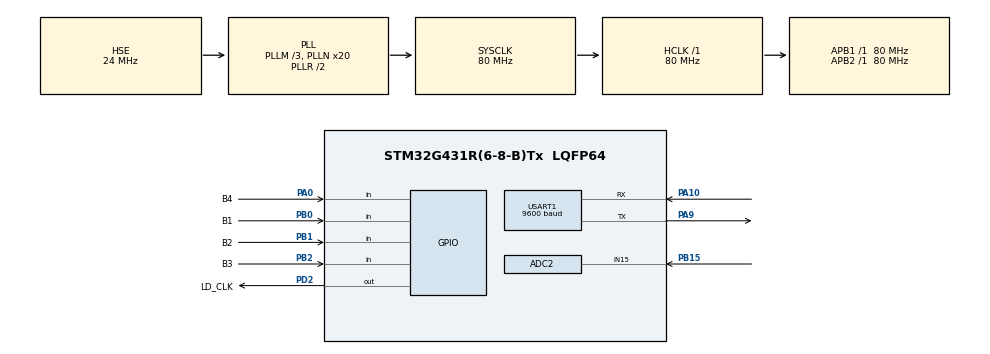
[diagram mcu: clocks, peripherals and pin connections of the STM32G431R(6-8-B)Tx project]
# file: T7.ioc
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ADC2.Channel-0\#ChannelRegularConversion=ADC_CHANNEL_15
ADC2.NbrOfConversionFlag=1
ADC2.OffsetNumber-0\#ChannelRegularConversion=ADC_OFFSET_NONE
ADC2.Rank-0\#ChannelRegularConversion=1
ADC2.SamplingTime-0\#ChannelRegularConversion=ADC_SAMPLETIME_2CYCLES_5
Mcu.Family=STM32G4
Mcu.Name=STM32G431R(6-8-B)Tx
Mcu.Package=LQFP64
NVIC.ADC1_2_IRQn=true\:0\:0\:false\:false\:true\:true\:true
NVIC.PriorityGroup=NVIC_PRIORITYGROUP_4
NVIC.TIM4_IRQn=true\:0\:0\:false\:false\:true\:true\:true
NVIC.USART1_IRQn=true\:0\:0\:false\:false\:true\:true\:true
PA0.GPIO_Label=B4
PA0.Signal=GPIO_Input
PA10.Mode=Asynchronous
PA10.Signal=USART1_RX
PA9.Mode=Asynchronous
PA9.Signal=USART1_TX
PB0.GPIO_Label=B1
PB0.Signal=GPIO_Input
PB1.GPIO_Label=B2
PB1.Signal=GPIO_Input
PB15.Mode=IN15-Single-Ended
PB15.Signal=ADC2_IN15
PB2.GPIO_Label=B3
PB2.Signal=GPIO_Input
PD2.GPIO_Label=LD_CLK
PD2.Signal=GPIO_Output
PF0-OSC_IN.Mode=HSE-External-Oscillator
PF0-OSC_IN.Signal=RCC_OSC_IN
PF1-OSC_OUT.Mode=HSE-External-Oscillator
PF1-OSC_OUT.Signal=RCC_OSC_OUT
ProjectManager.HeapSize=0x200
ProjectManager.StackSize=0x400
ProjectManager.TargetToolchain=MDK-ARM V5.27
RCC.ADC12Freq_Value=80000000
RCC.AHBFreq_Value=80000000
RCC.APB1Freq_Value=80000000
RCC.APB1TimFreq_Value=80000000
RCC.APB2Freq_Value=80000000
RCC.APB2TimFreq_Value=80000000
RCC.CortexFreq_Value=80000000
RCC.EXTERNAL_CLOCK_VALUE=12288000
RCC.HCLKFreq_Value=80000000
RCC.HSE_VALUE=24000000
RCC.HSI48_VALUE=48000000
RCC.HSI_VALUE=16000000
RCC.LSE_VALUE=32768
RCC.PLLM=RCC_PLLM_DIV3
RCC.PLLN=20
RCC.PLLSourceVirtual=RCC_PLLSOURCE_HSE
RCC.SYSCLKFreq_VALUE=80000000
RCC.SYSCLKSource=RCC_SYSCLKSOURCE_PLLCLK
RCC.USBFreq_Value=80000000
RCC.VCOOutputFreq_Value=160000000
TIM4.PeriodNoDither=1000-1
TIM4.Prescaler=80-1
USART1.BaudRate=9600
USART1.VirtualMode-Asynchronous=VM_ASYNC
VP_SYS_VS_DBSignals.Mode=DisableDeadBatterySignals
VP_TIM4_VS_ClockSourceINT.Mode=Internal
board=custom

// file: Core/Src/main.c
/* USER CODE BEGIN Header */
/**
  ******************************************************************************
  * @file           : main.c
  * @brief          : Main program body
  ******************************************************************************
  * @attention
  *
  * <h2><center>&copy; Copyright (c) 2021 STMicroelectronics.
  * All rights reserved.</center></h2>
  *
  * This software component is licensed by ST under BSD 3-Clause license,
  * the "License"; You may not use this file except in compliance with the
  * License. You may obtain a copy of the License at:
  *                        opensource.org/licenses/BSD-3-Clause
  *
  ******************************************************************************
  */
/* USER CODE END Header */
#include "main.h"
#include "adc.h"
#include "tim.h"
#include "usart.h"
#include "gpio.h"

/* USER CODE BEGIN Includes */
#include "lcd.h"
#include "i2c.h"
#include "stdio.h"
#include "string.h"
/* USER CODE END Includes */

/* USER CODE BEGIN PD */
#define DISPLAYVIEW 0
#define SETTINGVIEW 1
#define Th1_SEL 1
#define Th2_SEL 2
#define Th3_SEL 3
/* USER CODE END PD */

/* USER CODE BEGIN PM */
#define KB1 HAL_GPIO_ReadPin(B1_GPIO_Port, B1_Pin)
#define KB2 HAL_GPIO_ReadPin(B2_GPIO_Port, B2_Pin)
#define KB3 HAL_GPIO_ReadPin(B3_GPIO_Port, B3_Pin)
#define KB4 HAL_GPIO_ReadPin(B4_GPIO_Port, B4_Pin)

/* USER CODE END PM */

/* USER CODE BEGIN PV */
_Bool Adc_Flag = 1;//ADC的标志位
_Bool Key_Flag = 0;//KEY的标志位
_Bool Led_Flag = 0;//LED的标志位
_Bool Led2_Flag, Led2_200ms_flag = 0;
_Bool Led3_Flag, Led3_200ms_flag = 0;

uint16_t Led_Val;
uint8_t View_Model = 0;
uint8_t Height_Val;//液位高度
float Adc_Val;//ADC的值
uint8_t Level_Val = 1;//液位等级
uint8_t Pre_Level_Val = 1;//液位等级

uint8_t Th_Index = 1;
uint8_t Th1, Th2, Th3;

uint8_t rx_buf[30];
/* USER CODE END PV */

void SystemClock_Config(void);

/* USER CODE BEGIN 0 */
uint8_t ee_read(uint8_t address)
{
 uint8_t val;
 I2CStart();
 I2CSendByte(0xa0);
 I2CWaitAck();

 I2CSendByte(address);
 I2CWaitAck();

 I2CStart();
 I2CSendByte(0xa1);
 I2CWaitAck();
 val = I2CReceiveByte();
 I2CWaitAck();
 I2CStop();
 return val;
}

//
void ee_write(uint8_t address, uint8_t val)
{
 I2CStart();
 I2CSendByte(0xa0);
 I2CWaitAck();

 I2CSendByte(address);
 I2CWaitAck();

 I2CSendByte(val);
 I2CWaitAck();
 I2CStop();
}

int fputc(int ch, FILE *f)
{
	HAL_UART_Transmit(&huart1, (uint8_t *)&ch, 1, HAL_MAX_DELAY);
	return ch;
}
//控制LED
void TurnOff_LEDS(void)
{
	Led_Val = 0xFF00;
	HAL_GPIO_WritePin(LD_CLK_GPIO_Port, LD_CLK_Pin, GPIO_PIN_SET);
	GPIOC->ODR = Led_Val;
	HAL_GPIO_WritePin(LD_CLK_GPIO_Port, LD_CLK_Pin, GPIO_PIN_RESET);
}
void TurnOn_LED(uint8_t i)
{
	Led_Val &= ~(0x01<<(7+i));
	HAL_GPIO_WritePin(LD_CLK_GPIO_Port, LD_CLK_Pin, GPIO_PIN_SET);
	GPIOC->ODR = Led_Val;
	HAL_GPIO_WritePin(LD_CLK_GPIO_Port, LD_CLK_Pin, GPIO_PIN_RESET);
}
void TurnOff_LED(uint8_t i)
{
	Led_Val |= (0x01<<(7+i));
	HAL_GPIO_WritePin(LD_CLK_GPIO_Port, LD_CLK_Pin, GPIO_PIN_SET);
	GPIOC->ODR = Led_Val;
	HAL_GPIO_WritePin(LD_CLK_GPIO_Port, LD_CLK_Pin, GPIO_PIN_RESET);
}

_Bool ledodd;
void LD1_Blink()
{
	if(ledodd)
	{
		TurnOn_LED(1);
	}else{
		TurnOff_LED(1);
	}
	ledodd = !ledodd;
}

_Bool ledodd2;
uint8_t led2_count;
void LD2_Blink()
{
	if(ledodd2)
	{
		TurnOn_LED(2);
	}else{
		TurnOff_LED(2);
	}
	ledodd2 = !ledodd2;
}

_Bool ledodd3;
uint8_t led3_count;
void LD3_Blink()
{
	if(ledodd3)
	{
		TurnOn_LED(3);
	}else{
		TurnOff_LED(3);
	}
	ledodd3 = !ledodd3;
}

//获取ADC
uint32_t getADC()
{
	HAL_ADC_Start(&hadc2);
	HAL_ADC_PollForConversion(&hadc2,100);
  if(HAL_IS_BIT_SET(HAL_ADC_GetState(&hadc2),HAL_ADC_STATE_REG_EOC))
	{
		return HAL_ADC_GetValue(&hadc2);
  }
	return 0;
}
void Display()
{
	LCD_DisplayStringLine(Line1, (uint8_t *)"     Liquid Level     ");
	uint8_t buf[30];
	sprintf((char *)buf, "Height:       %-2dcm", Height_Val);
	LCD_DisplayStringLine(Line3, buf);

	sprintf((char *)buf, "ADC:          %.2fV", Adc_Val);
	LCD_DisplayStringLine(Line4, buf);

	sprintf((char *)buf, "Level:        %d", Level_Val);
	LCD_DisplayStringLine(Line5, buf);
}
void Setting()
{
	LCD_DisplayStringLine(Line1, (uint8_t *)"   Parameter Setup    ");
	uint8_t buf2[30];

	sprintf((char *)buf2, " Threshold 1: %-2dcm", Th1);
	if(Th_Index == Th1_SEL)
	{
		LCD_SetTextColor(Green);
		LCD_DisplayStringLine(Line3, buf2);
		LCD_SetTextColor(Black);
	}else{
		LCD_DisplayStringLine(Line3, buf2);
	}

	sprintf((char *)buf2, " Threshold 2: %-2dcm", Th2);
	if(Th_Index == Th2_SEL)
	{
		LCD_SetTextColor(Green);
		LCD_DisplayStringLine(Line4, buf2);
		LCD_SetTextColor(Black);
	}else{
		LCD_DisplayStringLine(Line4, buf2);
	}

	sprintf((char *)buf2, " Threshold 3: %-2dcm", Th3);
	if(Th_Index == Th3_SEL)
	{
		LCD_SetTextColor(Green);
		LCD_DisplayStringLine(Line5, buf2);
		LCD_SetTextColor(Black);
	}else{
		LCD_DisplayStringLine(Line5, buf2);
	}

}
void Display_Proc()
{
	switch(View_Model)
	{
		case DISPLAYVIEW:
			Display();
			break;
		case SETTINGVIEW:
			Setting();
			break;
	}
}

void Key_Proc()
{
	//按键1 切换显示界面
	static uint8_t b1_sum;
	if(KB1 == 0)
	{
		b1_sum++;
		if(b1_sum == 1)
		{
			switch(View_Model)
			{
				case DISPLAYVIEW:
					LCD_Clear(White);
					View_Model = SETTINGVIEW;
					break;
				case SETTINGVIEW:
					ee_write(0x01, Th1);
					HAL_Delay(5);
					ee_write(0x02, Th2);
					HAL_Delay(5);
					ee_write(0x03, Th3);
					HAL_Delay(5);
					LCD_Clear(White);
					View_Model = DISPLAYVIEW;
					break;
			}
		}
	}else if(KB1 == 1)
	{
		b1_sum = 0;
	}

	//按键2 切换显示界面
	static uint8_t b2_sum;
	if(KB2 == 0)
	{
		b2_sum++;
		if(b2_sum == 1)
		{
			if(View_Model == SETTINGVIEW)
				Th_Index = Th_Index % 3 + 1;
		}
	}else if(KB2 == 1)
	{
		b2_sum = 0;
	}

	//按键3 阈值加
	static uint8_t b3_sum;
	if(KB3 == 0)
	{
		b3_sum++;
		if(b3_sum == 1)
		{
			if(View_Model == SETTINGVIEW)
			{
				switch(Th_Index)
				{
					case Th1_SEL:
						if(Th1 + 5 < Th2)
						{
							Th1+=5;
						}
						break;
					case Th2_SEL:
						if(Th2 + 5 < Th3)
						{
							Th2+=5;
						}
						break;
					case Th3_SEL:
						if(Th3 + 5 <= 95)
						{
							Th3+=5;
						}
						break;
				}
			}
		}
	}else if(KB3 == 1)
	{
		b3_sum = 0;
	}

	//按键4 阈值减
	static uint8_t b4_sum;
	if(KB4 == 0)
	{
		b4_sum++;
		if(b4_sum == 1)
		{
			if(View_Model == SETTINGVIEW)
			{
				switch(Th_Index)
				{
					case Th1_SEL:
						if(Th1 - 5 >= 5)
						{
							Th1-=5;
						}
						break;
					case Th2_SEL:
						if(Th2 - 5 > Th1)
						{
							Th2-=5;
						}
						break;
					case Th3_SEL:
						if(Th3 - 5 > Th2)
						{
							Th3-=5;
						}
						break;
				}
			}
		}
	}else if(KB4 == 1)
	{
		b4_sum = 0;
	}
}

//读取eeprom 初始化数据
void Init_Data()
{
	if(ee_read(0x10) == 'T' && ee_read(0x11) == '7')
	{
		Th1 = ee_read(0x01);
		Th2 = ee_read(0x02);
		Th3 = ee_read(0x03);
	}else{
		ee_write(0x10, 'T');
		HAL_Delay(10);
		ee_write(0x11, '7');
		HAL_Delay(10);
		ee_write(0x01, 30);
		HAL_Delay(10);
		ee_write(0x02, 50);
		HAL_Delay(10);
		ee_write(0x03, 70);
		HAL_Delay(10);
	}

}
/* USER CODE END 0 */

int main(void)
{

  /* MCU Configuration--------------------------------------------------------*/

  /* Reset of all peripherals, Initializes the Flash interface and the Systick. */
  HAL_Init();

  /* Configure the system clock */
  SystemClock_Config();

  /* Initialize all configured peripherals */
  MX_GPIO_Init();
  MX_TIM4_Init();
  MX_ADC2_Init();
  MX_USART1_UART_Init();
  /* USER CODE BEGIN 2 */
	HAL_TIM_Base_Start_IT(&htim4);
	HAL_UART_Receive_IT(&huart1, (uint8_t *)rx_buf, 1);
	HAL_ADCEx_Calibration_Start(&hadc2, ADC_SINGLE_ENDED);
	//初始化I2C读取数据
	I2CInit();
	Init_Data();
	//初始化LCD
	LCD_Init();
	LCD_Clear(White);
	LCD_SetBackColor(White);
	LCD_SetTextColor(Black);
	//关闭LED
	TurnOff_LEDS();
  /* USER CODE END 2 */

  /* Infinite loop */
  /* USER CODE BEGIN WHILE */
  while (1)
  {
		Display_Proc();
    /* USER CODE END WHILE */

    /* USER CODE BEGIN 3 */
		if(Key_Flag)
		{
			Key_Flag = 0;
			Key_Proc();
		}
		if(Led_Flag)
		{
			Led_Flag = 0;
			LD1_Blink();
		}

		if(Adc_Flag)
		{
			Adc_Flag = 0;
			Adc_Val = getADC() / 4096.0f * 3.3f;
			Height_Val = Adc_Val * (100.0f / 3.3f);

			if(Height_Val <= Th1)
			{
				Level_Val = 0;
			}
			else if(Height_Val > Th1 && Height_Val <= Th2)
			{
				Level_Val = 1;
			}
			else if(Height_Val > Th2 && Height_Val <= Th3)
			{
				Level_Val = 2;
			}
			else if(Height_Val > Th3)
			{
				Level_Val = 3;
			}

			if(Level_Val != Pre_Level_Val)
			{
				if(Level_Val < Pre_Level_Val)
				{
					printf("A:H%02d+L%d+D\r\n", Height_Val, Level_Val);
				}else if(Level_Val > Pre_Level_Val){
					printf("A:H%02d+L%d+U\r\n", Height_Val, Level_Val);
				}
				Led2_Flag = 1;
			}
			Pre_Level_Val = Level_Val;
		}

		if(Led2_Flag)
		{
			if(Led2_200ms_flag)
			{
				Led2_200ms_flag = 0;
				led2_count++;
				if(led2_count <= 11)
				{
					LD2_Blink();
				}else
				{
					ledodd2 = 0;
					led2_count = 0;
					Led2_Flag = 0;
				}
			}
		}
		if(Led3_Flag)
		{
			if(Led3_200ms_flag)
			{
				Led3_200ms_flag = 0;
				led3_count++;
				if(led3_count <= 11)
				{
					LD3_Blink();
				}else
				{
					ledodd3 = 0;
					led3_count = 0;
					Led3_Flag = 0;
				}
			}
		}

  }
  /* USER CODE END 3 */
}

void SystemClock_Config(void)
{
  RCC_OscInitTypeDef RCC_OscInitStruct = {0};
  RCC_ClkInitTypeDef RCC_ClkInitStruct = {0};
  RCC_PeriphCLKInitTypeDef PeriphClkInit = {0};

  /** Configure the main internal regulator output voltage
  */
  HAL_PWREx_ControlVoltageScaling(PWR_REGULATOR_VOLTAGE_SCALE1);
  /** Initializes the RCC Oscillators according to the specified parameters
  * in the RCC_OscInitTypeDef structure.
  */
  RCC_OscInitStruct.OscillatorType = RCC_OSCILLATORTYPE_HSE;
  RCC_OscInitStruct.HSEState = RCC_HSE_ON;
  RCC_OscInitStruct.PLL.PLLState = RCC_PLL_ON;
  RCC_OscInitStruct.PLL.PLLSource = RCC_PLLSOURCE_HSE;
  RCC_OscInitStruct.PLL.PLLM = RCC_PLLM_DIV3;
  RCC_OscInitStruct.PLL.PLLN = 20;
  RCC_OscInitStruct.PLL.PLLP = RCC_PLLP_DIV2;
  RCC_OscInitStruct.PLL.PLLQ = RCC_PLLQ_DIV2;
  RCC_OscInitStruct.PLL.PLLR = RCC_PLLR_DIV2;
  if (HAL_RCC_OscConfig(&RCC_OscInitStruct) != HAL_OK)
  {
    Error_Handler();
  }
  /** Initializes the CPU, AHB and APB buses clocks
  */
  RCC_ClkInitStruct.ClockType = RCC_CLOCKTYPE_HCLK|RCC_CLOCKTYPE_SYSCLK
                              |RCC_CLOCKTYPE_PCLK1|RCC_CLOCKTYPE_PCLK2;
  RCC_ClkInitStruct.SYSCLKSource = RCC_SYSCLKSOURCE_PLLCLK;
  RCC_ClkInitStruct.AHBCLKDivider = RCC_SYSCLK_DIV1;
  RCC_ClkInitStruct.APB1CLKDivider = RCC_HCLK_DIV1;
  RCC_ClkInitStruct.APB2CLKDivider = RCC_HCLK_DIV1;

  if (HAL_RCC_ClockConfig(&RCC_ClkInitStruct, FLASH_LATENCY_2) != HAL_OK)
  {
    Error_Handler();
  }
  /** Initializes the peripherals clocks
  */
  PeriphClkInit.PeriphClockSelection = RCC_PERIPHCLK_USART1|RCC_PERIPHCLK_ADC12;
  PeriphClkInit.Usart1ClockSelection = RCC_USART1CLKSOURCE_PCLK2;
  PeriphClkInit.Adc12ClockSelection = RCC_ADC12CLKSOURCE_SYSCLK;
  if (HAL_RCCEx_PeriphCLKConfig(&PeriphClkInit) != HAL_OK)
  {
    Error_Handler();
  }
}

/* USER CODE BEGIN 4 */
void HAL_TIM_PeriodElapsedCallback(TIM_HandleTypeDef *htim)
{
	HAL_TIM_Base_Start_IT(&htim4);
	static uint8_t key_count;
	static uint16_t led_count;
	static uint8_t led2_count, led3_count;
	static uint16_t adc_count;

	if(htim->Instance == TIM4)
	{
		if(++key_count == 10)
		{
			key_count = 0;
			Key_Flag = 1;
		}
		if(++led_count == 1000)
		{
			led_count = 0;
			Led_Flag = 1;
		}

		if(++led2_count == 200)
		{
			led2_count = 0;
			Led2_200ms_flag = 1;
		}

		if(++led3_count == 200)
		{
			led3_count = 0;
			Led3_200ms_flag = 1;
		}
		if(++adc_count == 1000)
		{
			adc_count = 0;
			Adc_Flag = 1;
		}
	}
}

void HAL_UART_RxCpltCallback(UART_HandleTypeDef *huart)
{
	if(huart->Instance == USART1)
	{
		if(rx_buf[0] == 'C' || rx_buf[0] == 'c')
		{
			printf("C:H%02d+L%d\r\n", Height_Val, Level_Val);
			Led3_Flag = 1;
		}
		if(rx_buf[0] == 'S' || rx_buf[0] == 's')
		{
			printf("S:TL%02d+TM%02d+TH%02d\r\n", Th1, Th2, Th3);
			Led3_Flag = 1;
		}
		else
		{
			memset(rx_buf, 0, sizeof(rx_buf));
		}
		HAL_UART_Receive_IT(&huart1, (uint8_t *)rx_buf, 1);
	}
}
/* USER CODE END 4 */

void Error_Handler(void)
{
  __disable_irq();
  while (1)
  {
  }
}

/************************ (C) COPYRIGHT STMicroelectronics *****END OF FILE****/
